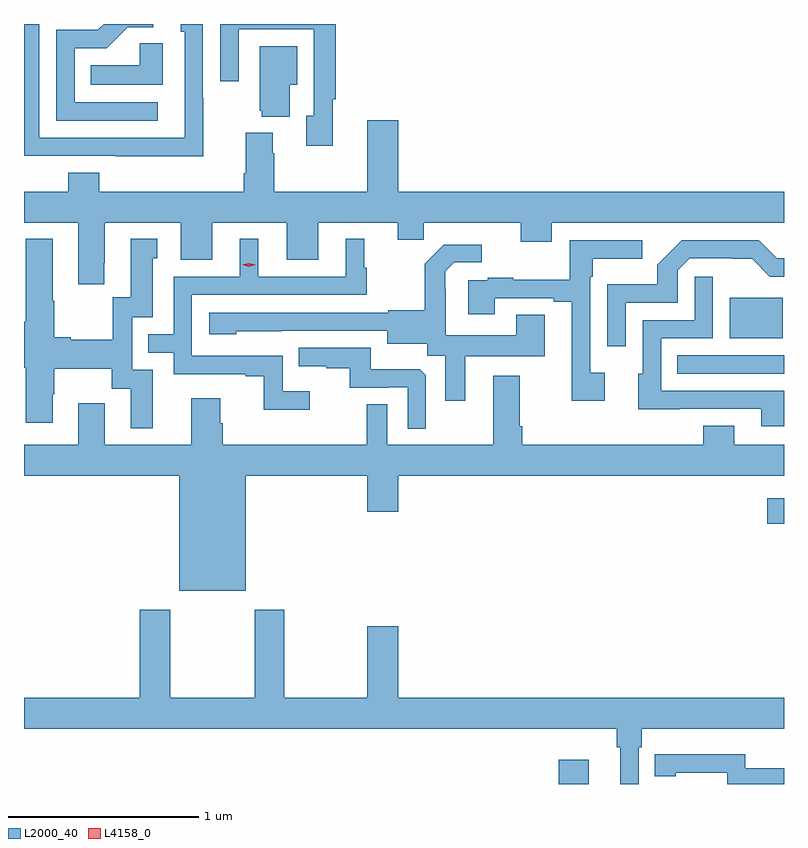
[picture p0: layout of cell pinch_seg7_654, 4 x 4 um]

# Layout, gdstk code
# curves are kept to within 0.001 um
import gdstk
lib = gdstk.Library(unit=1e-6, precision=1e-09)
def R(c, l, rs):  # rectangles x0, y0, x1, y1
    for r in rs: c.add(gdstk.rectangle(r[:2], r[2:], *l))
def P(c, l, *ps):  # polygons
    for p in ps: c.add(gdstk.Polygon(p, *l))
L2000_40 = (2000, 40)
L4158_0 = (4158, 0)

pinch_seg7_654 = lib.new_cell('pinch_seg7_654')
R(pinch_seg7_654, L2000_40, [(213.968,998.994,214.126,999.121), (215.064,1000.364,215.153,1000.498), (214.591,1001.154,215.153,1001.25), (214.868,1001.339,215.146,1001.554)])
P(pinch_seg7_654, L2000_40, [(212.777,1002.598),(212.795,1002.598),(212.795,1002.994),(212.187,1002.994),(212.187,1002.693),(212.283,1002.693),(212.283,1002.966),(212.679,1002.966),(212.679,1002.51),(212.639,1002.51),(212.639,1002.354),(212.777,1002.354)],
  [(212.097,1002.605),(212.094,1002.605),(212.094,1002.994),(211.979,1002.994),(211.979,1002.954),(211.998,1002.954),(211.998,1002.396),(211.233,1002.396),(211.233,1002.994),(211.153,1002.994),(211.153,1002.3),(211.633,1002.3),(211.633,1002.299),(212.097,1002.299)],
  [(211.858,1002.582),(211.419,1002.582),(211.419,1002.867),(211.588,1002.867),(211.699,1002.978),(211.834,1002.978),(211.834,1002.994),(211.573,1002.994),(211.542,1002.963),(211.323,1002.963),(211.323,1002.486),(211.858,1002.486)],
  [(211.882,1002.893),(211.761,1002.893),(211.761,1002.778),(211.504,1002.778),(211.504,1002.674),(211.882,1002.674)],
  [(212.551,1002.674),(212.59,1002.674),(212.59,1002.877),(212.393,1002.877),(212.393,1002.537),(212.405,1002.537),(212.405,1002.506),(212.551,1002.506)],
  [(211.576,1001.737),(211.579,1001.737),(211.579,1001.948),(211.979,1001.948),(211.979,1001.754),(212.143,1001.754),(212.143,1001.948),(212.537,1001.948),(212.537,1001.754),(212.701,1001.754),(212.701,1001.948),(213.119,1001.948),(213.119,1001.858),(213.257,1001.858),(213.257,1001.948),(213.767,1001.948),(213.767,1001.849),(213.931,1001.849),(213.931,1001.948),(215.153,1001.948),(215.153,1002.112),(213.124,1002.112),(213.124,1002.487),(212.96,1002.487),(212.96,1002.112),(212.469,1002.112),(212.469,1002.314),(212.461,1002.314),(212.461,1002.421),(212.321,1002.421),(212.321,1002.208),(212.309,1002.208),(212.309,1002.112),(211.55,1002.112),(211.55,1002.211),(211.385,1002.211),(211.385,1002.112),(211.153,1002.112),(211.153,1001.948),(211.439,1001.948),(211.439,1001.625),(211.576,1001.625)],
  [(211.831,1001.175),(211.722,1001.175),(211.722,1001.451),(211.831,1001.451),(211.831,1001.76),(211.855,1001.76),(211.855,1001.863),(211.715,1001.863),(211.715,1001.556),(211.619,1001.556),(211.619,1001.332),(211.399,1001.332),(211.399,1001.345),(211.311,1001.345),(211.311,1001.537),(211.303,1001.537),(211.303,1001.863),(211.163,1001.863),(211.163,1001.428),(211.153,1001.428),(211.153,1001.184),(211.163,1001.184),(211.163,1000.896),(211.303,1000.896),(211.303,1001.046),(211.311,1001.046),(211.311,1001.18),(211.614,1001.18),(211.614,1001.074),(211.715,1001.074),(211.715,1000.866),(211.831,1000.866)],
  [(212.656,1001.062),(212.514,1001.062),(212.514,1001.247),(212.037,1001.247),(212.037,1001.568),(212.956,1001.568),(212.956,1001.712),(212.944,1001.712),(212.944,1001.863),(212.846,1001.863),(212.846,1001.664),(212.386,1001.664),(212.386,1001.863),(212.288,1001.863),(212.288,1001.664),(211.941,1001.664),(211.941,1001.361),(211.807,1001.361),(211.807,1001.265),(211.941,1001.265),(211.941,1001.151),(212.321,1001.151),(212.321,1001.139),(212.416,1001.139),(212.416,1000.964),(212.656,1000.964)],
  [(214.32,1001.526),(214.593,1001.526),(214.593,1001.697),(214.656,1001.76),(214.985,1001.759),(215.079,1001.664),(215.153,1001.664),(215.153,1001.762),(215.114,1001.762),(215.019,1001.856),(214.616,1001.856),(214.486,1001.726),(214.486,1001.623),(214.224,1001.623),(214.224,1001.298),(214.32,1001.298)],
  [(214.21,1001.158),(214.134,1001.158),(214.134,1001.663),(214.147,1001.663),(214.147,1001.759),(214.408,1001.759),(214.408,1001.856),(214.026,1001.856),(214.026,1001.648),(213.727,1001.648),(213.727,1001.659),(213.595,1001.659),(213.595,1001.646),(213.491,1001.646),(213.491,1001.466),(213.631,1001.466),(213.631,1001.55),(213.941,1001.55),(213.941,1001.532),(214.037,1001.532),(214.037,1001.01),(214.21,1001.01)],
  [(213.475,1001.246),(213.895,1001.246),(213.895,1001.465),(213.743,1001.465),(213.743,1001.356),(213.372,1001.356),(213.372,1001.597),(213.37,1001.597),(213.37,1001.692),(213.417,1001.739),(213.562,1001.739),(213.562,1001.833),(213.361,1001.833),(213.261,1001.733),(213.261,1001.488),(213.069,1001.488),(213.069,1001.475),(212.127,1001.475),(212.127,1001.36),(212.271,1001.36),(212.271,1001.378),(213.065,1001.379),(213.065,1001.312),(213.276,1001.312),(213.276,1001.248),(213.371,1001.248),(213.371,1001.01),(213.475,1001.01)],
  [(215.153,1001.064),(214.506,1001.064),(214.506,1001.34),(214.779,1001.34),(214.779,1001.665),(214.683,1001.665),(214.683,1001.436),(214.41,1001.436),(214.41,1001.154),(214.385,1001.154),(214.385,1000.967),(214.603,1000.967),(214.603,1000.968),(215.033,1000.968),(215.033,1000.878),(215.153,1000.878)],
  [(213.267,1001.145),(213.235,1001.177),(212.977,1001.177),(212.977,1001.289),(212.599,1001.289),(212.599,1001.192),(212.743,1001.192),(212.743,1001.181),(212.867,1001.181),(212.867,1001.079),(213.074,1001.079),(213.074,1001.082),(213.174,1001.082),(213.174,1000.865),(213.267,1000.865)],
  [(212.32,1000.616),(212.96,1000.616),(212.96,1000.428),(213.124,1000.428),(213.124,1000.616),(215.153,1000.616),(215.153,1000.78),(214.891,1000.78),(214.891,1000.879),(214.727,1000.879),(214.727,1000.78),(213.776,1000.78),(213.776,1000.876),(213.763,1000.876),(213.763,1001.143),(213.623,1001.143),(213.623,1000.78),(213.066,1000.78),(213.066,1000.994),(212.958,1000.994),(212.958,1000.78),(212.198,1000.78),(212.198,1000.893),(212.185,1000.893),(212.185,1001.023),(212.033,1001.023),(212.033,1000.78),(211.579,1000.78),(211.579,1000.999),(211.439,1000.999),(211.439,1000.78),(211.153,1000.78),(211.153,1000.616),(211.97,1000.616),(211.97,1000.01),(212.32,1000.01)],
  [(214.389,999.188),(214.403,999.188),(214.403,999.284),(215.153,999.284),(215.153,999.448),(213.124,999.448),(213.124,999.823),(212.96,999.823),(212.96,999.448),(212.523,999.448),(212.523,999.91),(212.368,999.91),(212.368,999.448),(211.923,999.448),(211.923,999.91),(211.763,999.91),(211.763,999.448),(211.153,999.448),(211.153,999.284),(214.273,999.284),(214.273,999.188),(214.292,999.188),(214.292,998.994),(214.389,998.994)],
  [(215.153,999.078),(214.95,999.078),(214.95,999.151),(214.582,999.151),(214.582,999.15),(214.474,999.15),(214.474,999.034),(214.582,999.034),(214.582,999.054),(214.854,999.054),(214.854,998.994),(215.153,998.994)])
P(pinch_seg7_654, L4158_0, [(212.337,1001.716),(212.301,1001.726),(212.301,1001.726),(212.301,1001.726),(212.337,1001.736),(212.373,1001.727),(212.373,1001.727),(212.373,1001.727)])

lib.write_gds('pinch_seg7_654.gds')
